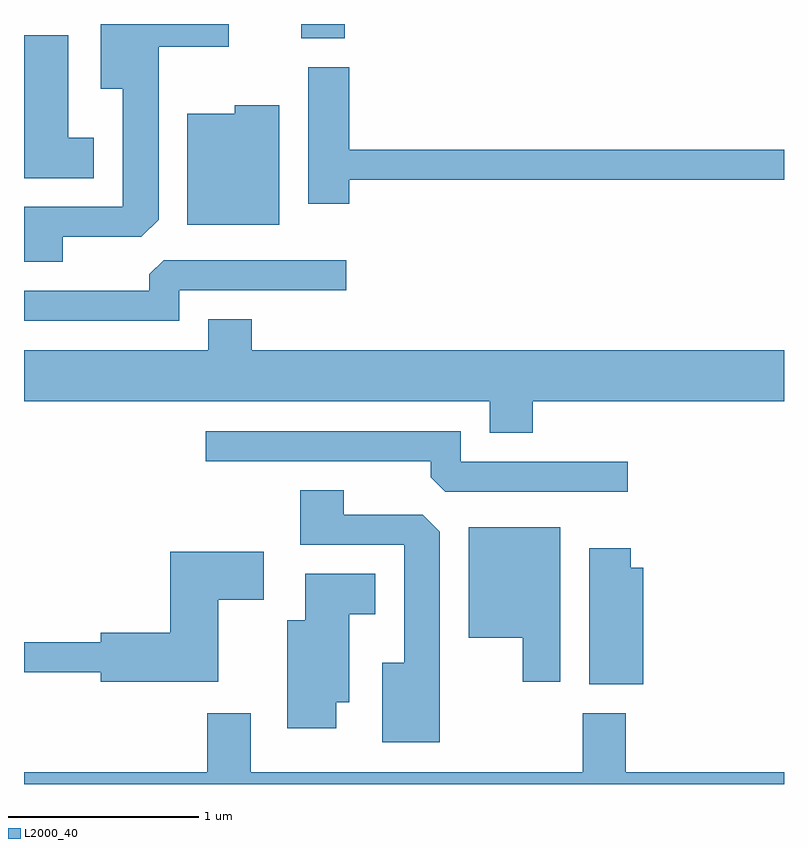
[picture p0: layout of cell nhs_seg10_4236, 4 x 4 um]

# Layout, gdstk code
import gdstk
lib = gdstk.Library(unit=1e-6, precision=1e-09)
def R(c, l, rs):  # rectangles x0, y0, x1, y1
    for r in rs: c.add(gdstk.rectangle(r[:2], r[2:], *l))
def P(c, l, *ps):  # polygons
    for p in ps: c.add(gdstk.Polygon(p, *l))
L2000_40 = (2000, 40)

nhs_seg10_4236 = lib.new_cell('nhs_seg10_4236')
R(nhs_seg10_4236, L2000_40, [(311.071,2162.446,311.299,2162.522)])
P(nhs_seg10_4236, L2000_40, [(309.814,2161.401),(310.229,2161.401),(310.319,2161.492),(310.319,2162.401),(310.689,2162.401),(310.689,2162.522),(310.016,2162.522),(310.016,2162.181),(310.131,2162.181),(310.131,2161.559),(309.611,2161.559),(309.611,2161.271),(309.814,2161.271)],
  [(309.979,2161.924),(309.844,2161.924),(309.844,2162.464),(309.611,2162.464),(309.611,2161.711),(309.979,2161.711)],
  [(311.324,2161.701),(313.611,2161.701),(313.611,2161.859),(311.324,2161.859),(311.324,2162.294),(311.106,2162.294),(311.106,2161.576),(311.324,2161.576)],
  [(310.954,2162.094),(310.721,2162.094),(310.721,2162.049),(310.471,2162.049),(310.471,2161.466),(310.954,2161.466)],
  [(310.429,2161.121),(311.308,2161.121),(311.308,2161.279),(310.347,2161.279),(310.271,2161.204),(310.271,2161.119),(309.611,2161.119),(309.611,2160.961),(310.429,2160.961)],
  [(312.289,2160.536),(313.611,2160.536),(313.611,2160.804),(310.809,2160.804),(310.809,2160.969),(310.581,2160.969),(310.581,2160.804),(309.611,2160.804),(309.611,2160.536),(312.061,2160.536),(312.061,2160.371),(312.289,2160.371)],
  [(312.788,2160.219),(311.909,2160.219),(311.909,2160.379),(310.568,2160.379),(310.568,2160.221),(311.751,2160.221),(311.751,2160.137),(311.827,2160.061),(312.788,2160.061)],
  [(311.799,2159.849),(311.709,2159.939),(311.294,2159.939),(311.294,2160.069),(311.066,2160.069),(311.066,2159.781),(311.611,2159.781),(311.611,2159.159),(311.496,2159.159),(311.496,2158.741),(311.799,2158.741)],
  [(312.434,2159.874),(311.951,2159.874),(311.951,2159.291),(312.236,2159.291),(312.236,2159.061),(312.434,2159.061)],
  [(312.869,2159.659),(312.804,2159.659),(312.804,2159.764),(312.586,2159.764),(312.586,2159.046),(312.869,2159.046)],
  [(310.634,2159.491),(310.874,2159.491),(310.874,2159.744),(310.381,2159.744),(310.381,2159.319),(310.016,2159.319),(310.016,2159.269),(309.611,2159.269),(309.611,2159.111),(310.016,2159.111),(310.016,2159.061),(310.634,2159.061)],
  [(311.254,2158.951),(311.324,2158.951),(311.324,2159.416),(311.459,2159.416),(311.459,2159.629),(311.091,2159.629),(311.091,2159.384),(310.996,2159.384),(310.996,2158.816),(311.254,2158.816)],
  [(313.611,2158.584),(312.779,2158.584),(312.779,2158.894),(312.551,2158.894),(312.551,2158.584),(310.804,2158.584),(310.804,2158.894),(310.576,2158.894),(310.576,2158.584),(309.611,2158.584),(309.611,2158.522),(313.611,2158.522)])

lib.write_gds('nhs_seg10_4236.gds')
